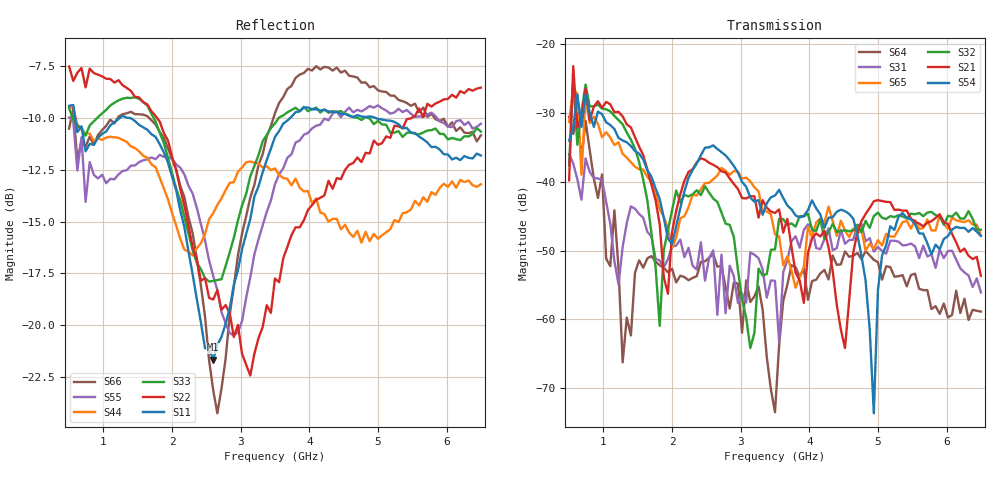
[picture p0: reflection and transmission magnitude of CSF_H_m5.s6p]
!Keysight Technologies,M9804A,MY58100912,A.14.10.03
!Date: Thursday, April 27, 2023 10:28:33
!Correction: S11(C  6-Port  )
!S12(C  6-Port  )
!S13(C  6-Port  )
!S14(C  6-Port  )
!S15(C  6-Port  )
!S16(C  6-Port  )
!S21(C  6-Port  )
!S22(C  6-Port  )
!S23(C  6-Port  )
!S24(C  6-Port  )
!S25(C  6-Port  )
!S26(C  6-Port  )
!S31(C  6-Port  )
!S32(C  6-Port  )
!S33(C  6-Port  )
!S34(C  6-Port  )
!S35(C  6-Port  )
!S36(C  6-Port  )
!S41(C  6-Port  )
!S42(C  6-Port  )
!S43(C  6-Port  )
!S44(C  6-Port  )
!S45(C  6-Port  )
!S46(C  6-Port  )
!S51(C  6-Port  )
!S52(C  6-Port  )
!S53(C  6-Port  )
!S54(C  6-Port  )
!S55(C  6-Port  )
!S56(C  6-Port  )
!S61(C  6-Port  )
!S62(C  6-Port  )
!S63(C  6-Port  )
!S64(C  6-Port  )
!S65(C  6-Port  )
!S66(C  6-Port  )
!S6P File: Measurement: :
# Hz S  RI  R 50
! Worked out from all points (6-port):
!   101 points, 500 MHz to 6.5 GHz, reference 50 ohm
!   strongest paths, dB at 500 MHz, 2 GHz, 3.5 GHz, 5 GHz, 6.5 GHz:
!     S54: -34.1, -49.1, -42.0, -55.7, -47.9
!     S21: -39.8, -47.3, -44.6, -42.7, -53.7
!     S32: -37.7, -44.2, -49.8, -44.5, -47.0
!     S65: -31.3, -49.6, -47.7, -48.5, -47.8
!     S31: -36.0, -49.4, -54.4, -49.5, -56.1
!     S64: -30.6, -52.7, -73.5, -51.7, -58.9
!   lowest |S11| = -21.7 dB at 2.6 GHz (marker M1), VSWR 1.18, Z = 42.6 + j1.99 ohm
!   |S11| at or under -10 dB: 589.1 MHz to 1.238 GHz (649.3 MHz wide, 71.1 % of centre); 1.393 GHz to 3.719 GHz (2.326 GHz wide, 91 % of centre); 4.972 GHz to end of sweep
